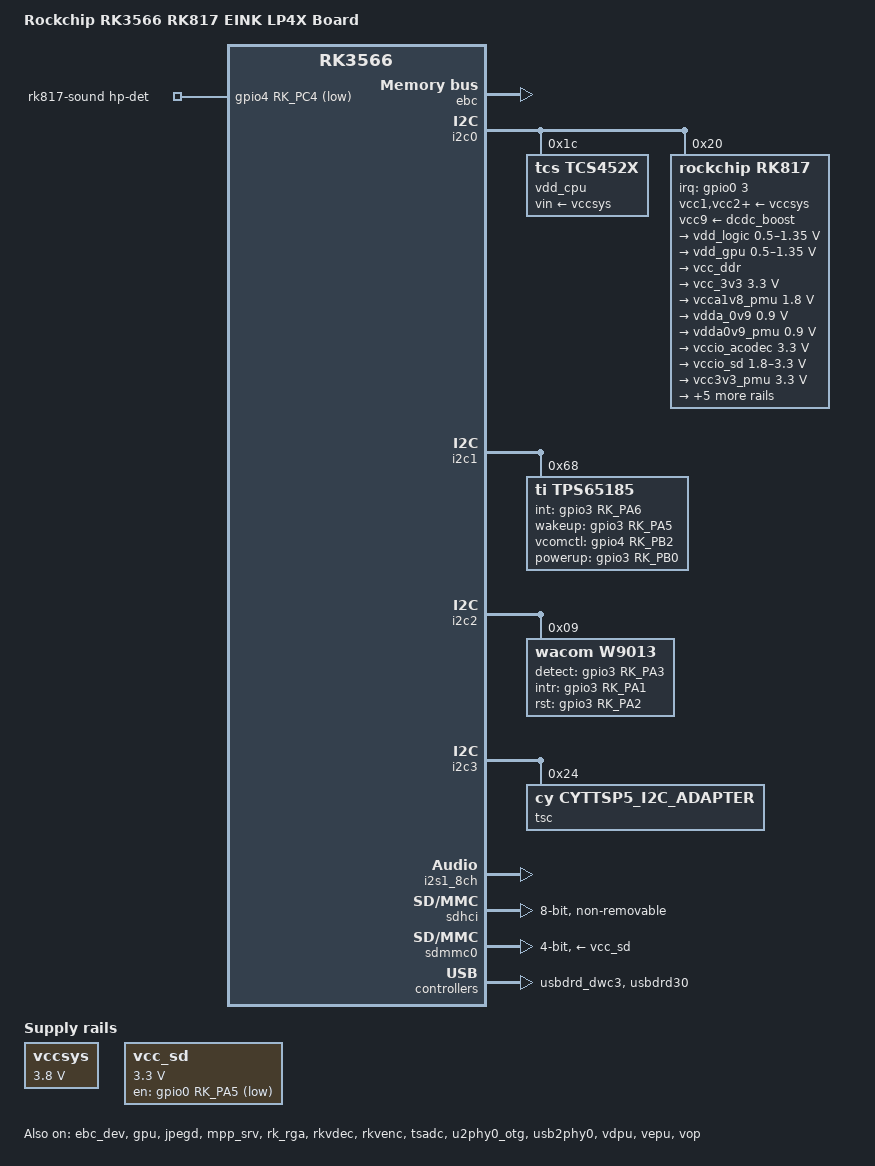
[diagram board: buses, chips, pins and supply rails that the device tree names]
// SPDX-License-Identifier: (GPL-2.0+ OR MIT)
/*
 * Copyright (c) 2020 Rockchip Electronics Co., Ltd.
 *
 */

/dts-v1/;

#include <dt-bindings/gpio/gpio.h>
#include <dt-bindings/pinctrl/rockchip.h>
#include <dt-bindings/input/rk-input.h>
#include <dt-bindings/sensor-dev.h>
#include <dt-bindings/display/drm_mipi_dsi.h>
#include "rk3566.dtsi"
#include "rk3568-android.dtsi"
#include "rk3566-eink.dtsi"

/ {
	model = "Rockchip RK3566 RK817 EINK LP4X Board";
	compatible = "rockchip,rk3566-rk817-eink", "rockchip,rk3566";

	charge-animation {
		compatible = "rockchip,uboot-charge";
		rockchip,uboot-charge-on = <1>;
		rockchip,android-charge-on = <0>;
		rockchip,uboot-low-power-voltage = <3350>;
		rockchip,screen-on-voltage = <3400>;
		rockchip,auto-wakeup-interval = <60>;
		status = "okay";
	};

	adc_keys: adc-keys {
		status = "disabled";
		compatible = "adc-keys";
		io-channels = <&saradc 0>;
		io-channel-names = "buttons";
		keyup-threshold-microvolt = <1800000>;
		poll-interval = <100>;

		vol-up-key {
			label = "volume up";
			linux,code = <KEY_VOLUMEUP>;
			press-threshold-microvolt = <1750>;
		};

		vol-down-key {
			label = "volume down";
			linux,code = <KEY_VOLUMEDOWN>;
			press-threshold-microvolt = <297500>;
		};
	};

	hdmi_sound: hdmi-sound {
		compatible = "simple-audio-card";
		simple-audio-card,format = "i2s";
		simple-audio-card,mclk-fs = <128>;
		simple-audio-card,name = "rockchip,hdmi";
		status = "disabled";

		simple-audio-card,cpu {
				sound-dai = <&i2s0_8ch>;
		};
		simple-audio-card,codec {
				sound-dai = <&hdmi>;
		};
	};

	vccsys: vccsys {
		compatible = "regulator-fixed";
		regulator-name = "vcc3v8_sys";
		regulator-always-on;
		regulator-boot-on;
		regulator-min-microvolt = <3800000>;
		regulator-max-microvolt = <3800000>;
	};

	rk817-sound {
		compatible = "rockchip,multicodecs-card";
		rockchip,card-name = "rockchip-rk817";
		hp-det-gpio = <&gpio4 RK_PC4 GPIO_ACTIVE_LOW>;
		rockchip,format = "i2s";
		rockchip,mclk-fs = <256>;
		rockchip,cpu = <&i2s1_8ch>;
		rockchip,codec = <&rk817_codec>;
		pinctrl-names = "default";
		pinctrl-0 = <&hp_det>;
	};

	sdio_pwrseq: sdio-pwrseq {
		status = "disabled";
		compatible = "mmc-pwrseq-simple";
		clocks = <&rk817 1>;
		clock-names = "ext_clock";
		pinctrl-names = "default";
		pinctrl-0 = <&wifi_enable_h>;

		/*
		 * On the module itself this is one of these (depending
		 * on the actual card populated):
		 * - SDIO_RESET_L_WL_REG_ON
		 * - PDN (power down when low)
		 */
		post-power-on-delay-ms = <200>;
		reset-gpios = <&gpio2 RK_PB1 GPIO_ACTIVE_LOW>;
	};

	vcc_sd: vcc-sd {
		compatible = "regulator-gpio";
		enable-active-low;
		enable-gpio = <&gpio0 RK_PA5 GPIO_ACTIVE_LOW>;
		regulator-min-microvolt = <3300000>;
		regulator-max-microvolt = <3300000>;
		pinctrl-names = "default";
		pinctrl-0 = <&vcc_sd_h>;
		regulator-name = "vcc_sd";
		states = <3300000 0x0
			3300000 0x1>;
	};

	wireless-wlan {
		compatible = "wlan-platdata";
		rockchip,grf = <&grf>;
		wifi_chip_type = "ap6255";
		pinctrl-names = "default";
		pinctrl-0 = <&wifi_host_wake_irq>;
		WIFI,host_wake_irq = <&gpio2 RK_PB2 GPIO_ACTIVE_HIGH>;
		status = "disabled";
	};

	wireless-bluetooth {
		compatible = "bluetooth-platdata";
		clocks = <&rk817 1>;
		clock-names = "ext_clock";
		//wifi-bt-power-toggle;
		uart_rts_gpios = <&gpio2 RK_PB5 GPIO_ACTIVE_LOW>;
		pinctrl-names = "default", "rts_gpio";
		pinctrl-0 = <&uart1m0_rtsn>;
		pinctrl-1 = <&uart1_gpios>;
		BT,reset_gpio    = <&gpio2 RK_PB7 GPIO_ACTIVE_HIGH>;
		BT,wake_gpio     = <&gpio2 RK_PC1 GPIO_ACTIVE_HIGH>;
		BT,wake_host_irq = <&gpio2 RK_PC0 GPIO_ACTIVE_HIGH>;
		status = "disabled";
	};
};

&ebc {
	/* clock rate 1000M/n, (n=1~32) */
	assigned-clocks = <&cru CPLL_333M>, <&cru DCLK_EBC>;
	assigned-clock-rates = <250000000>, <250000000>;
	status = "okay";
};

&ebc_dev {
	pmic = <&tps65185>;
	status = "okay";
#if 0
	/* ED097TC2U1 */
	panel,width = <1200>;
	panel,height = <825>;
	panel,vir_width = <1200>;
	panel,vir_height = <825>;
	panel,sdck = <25000000>;
	panel,lsl = <4>;
	panel,lbl = <4>;
	panel,ldl = <300>;
	panel,lel = <36>;
	panel,gdck-sta = <18>;
	panel,lgonl = <265>;
	panel,fsl = <2>;
	panel,fbl = <4>;
	panel,fdl = <825>;
	panel,fel = <24>;
	panel,mirror = <0>;
	panel,panel_16bit = <0>;
	panel,panel_color = <0>;
	panel,width-mm = <203>;
	panel,height-mm = <140>;
#else
	/* ES103TC1 */
	panel,width = <1872>;
	panel,height = <1404>;
	panel,vir_width = <1872>;
	panel,vir_height = <1404>;
	panel,sdck = <33300000>;
	panel,lsl = <18>;
	panel,lbl = <17>;
	panel,ldl = <234>;
	panel,lel = <7>;
	panel,gdck-sta = <34>;
	panel,lgonl = <192>;
	panel,fsl = <1>;
	panel,fbl = <4>;
	panel,fdl = <1404>;
	panel,fel = <12>;
	panel,mirror = <0>;
	panel,panel_16bit = <1>;
	panel,panel_color = <0>;
	panel,width-mm = <157>;
	panel,height-mm = <210>;
#endif
};

&cpu0 {
	cpu-supply = <&vdd_cpu>;
};

&gpu {
	mali-supply = <&vdd_gpu>;
	status = "okay";
};

&hdmi {
	status = "disabled";
};

&hdmi_in_vp0 {
	status = "disabled";
};

&hdmi_in_vp1 {
	status = "disabled";
};

&hdmi_sound {
	status = "disabled";
};

&i2c0 {
	status = "okay";

	vdd_cpu: tcs4525@1c {
		compatible = "tcs,tcs452x";
		reg = <0x1c>;
		vin-supply = <&vccsys>;
		regulator-compatible = "fan53555-reg";
		regulator-name = "vdd_cpu";
		regulator-min-microvolt = <712500>;
		regulator-max-microvolt = <1390000>;
		regulator-init-microvolt = <900000>;
		regulator-ramp-delay = <2300>;
		fcs,suspend-voltage-selector = <1>;
		regulator-boot-on;
		regulator-always-on;
		regulator-state-mem {
			regulator-off-in-suspend;
		};
	};

	rk817: pmic@20 {
		compatible = "rockchip,rk817";
		reg = <0x20>;
		interrupt-parent = <&gpio0>;
		interrupts = <3 IRQ_TYPE_LEVEL_LOW>;

		pinctrl-names = "default", "pmic-sleep",
				"pmic-power-off", "pmic-reset";
		pinctrl-0 = <&pmic_int>;
		pinctrl-1 = <&soc_slppin_slp>, <&rk817_slppin_slp>;
		pinctrl-2 = <&soc_slppin_gpio>, <&rk817_slppin_pwrdn>;
		pinctrl-3 = <&soc_slppin_gpio>, <&rk817_slppin_rst>;
		rockchip,system-power-controller;
		wakeup-source;
		#clock-cells = <1>;
		clock-output-names = "rk808-clkout1", "rk808-clkout2";
		//fb-inner-reg-idxs = <2>;
		/* 1: rst regs (default in codes), 0: rst the pmic */
		pmic-reset-func = <0>;
		/* not save the PMIC_POWER_EN register in uboot */
		not-save-power-en = <1>;
		vcc1-supply = <&vccsys>;
		vcc2-supply = <&vccsys>;
		vcc3-supply = <&vccsys>;
		vcc4-supply = <&vccsys>;
		vcc5-supply = <&vccsys>;
		vcc6-supply = <&vccsys>;
		vcc7-supply = <&vccsys>;
		vcc8-supply = <&vccsys>;
		vcc9-supply = <&dcdc_boost>;

		pwrkey {
			status = "okay";
		};

		pinctrl_rk8xx: pinctrl_rk8xx {
			gpio-controller;
			#gpio-cells = <2>;

			rk817_slppin_null: rk817_slppin_null {
				pins = "gpio_slp";
				function = "pin_fun0";
			};

			rk817_slppin_slp: rk817_slppin_slp {
				pins = "gpio_slp";
				function = "pin_fun1";
			};

			rk817_slppin_pwrdn: rk817_slppin_pwrdn {
				pins = "gpio_slp";
				function = "pin_fun2";
			};

			rk817_slppin_rst: rk817_slppin_rst {
				pins = "gpio_slp";
				function = "pin_fun3";
			};
		};

		regulators {
			vdd_logic: DCDC_REG1 {
				regulator-always-on;
				regulator-boot-on;
				regulator-min-microvolt = <500000>;
				regulator-max-microvolt = <1350000>;
				regulator-init-microvolt = <900000>;
				regulator-ramp-delay = <6001>;
				regulator-initial-mode = <0x2>;
				regulator-name = "vdd_logic";
				regulator-state-mem {
					regulator-off-in-suspend;
					regulator-suspend-microvolt = <900000>;
				};
			};

			vdd_gpu: DCDC_REG2 {
				regulator-always-on;
				regulator-boot-on;
				regulator-min-microvolt = <500000>;
				regulator-max-microvolt = <1350000>;
				regulator-init-microvolt = <900000>;
				regulator-ramp-delay = <6001>;
				regulator-initial-mode = <0x2>;
				regulator-name = "vdd_gpu";
					regulator-state-mem {
					regulator-off-in-suspend;
				};
			};

			vcc_ddr: DCDC_REG3 {
				regulator-always-on;
				regulator-boot-on;
				regulator-initial-mode = <0x2>;
				regulator-name = "vcc_ddr";
				regulator-state-mem {
					regulator-on-in-suspend;
				};
			};

			vcc_3v3: DCDC_REG4 {
				regulator-always-on;
				regulator-boot-on;
				regulator-min-microvolt = <3300000>;
				regulator-max-microvolt = <3300000>;
				regulator-initial-mode = <0x2>;
				regulator-name = "vcc_3v3";
				regulator-state-mem {
					regulator-off-in-suspend;
				};
			};

			vcca1v8_pmu: LDO_REG1 {
				regulator-always-on;
				regulator-boot-on;
				regulator-min-microvolt = <1800000>;
				regulator-max-microvolt = <1800000>;
				regulator-name = "vcca1v8_pmu";
				regulator-state-mem {
					regulator-on-in-suspend;
					regulator-suspend-microvolt = <1800000>;
				};
			};

			vdda_0v9: LDO_REG2 {
				regulator-always-on;
				regulator-boot-on;
				regulator-min-microvolt = <900000>;
				regulator-max-microvolt = <900000>;
				regulator-name = "vdda_0v9";
				regulator-state-mem {
					regulator-off-in-suspend;
				};
			};

			vdda0v9_pmu: LDO_REG3 {
				regulator-always-on;
				regulator-boot-on;
				regulator-min-microvolt = <900000>;
				regulator-max-microvolt = <900000>;
				regulator-name = "vdda0v9_pmu";
				regulator-state-mem {
					regulator-on-in-suspend;
					regulator-suspend-microvolt = <900000>;
				};
			};

			vccio_acodec: LDO_REG4 {
				regulator-always-on;
				regulator-boot-on;
				regulator-min-microvolt = <3300000>;
				regulator-max-microvolt = <3300000>;
				regulator-name = "vccio_acodec";
				regulator-state-mem {
					regulator-off-in-suspend;
				};
			};

			vccio_sd: LDO_REG5 {
				regulator-always-on;
				regulator-boot-on;
				regulator-min-microvolt = <1800000>;
				regulator-max-microvolt = <3300000>;
				regulator-name = "vccio_sd";
				regulator-state-mem {
					regulator-off-in-suspend;
				};
			};

			vcc3v3_pmu: LDO_REG6 {
				regulator-always-on;
				regulator-boot-on;
				regulator-min-microvolt = <3300000>;
				regulator-max-microvolt = <3300000>;
				regulator-name = "vcc3v3_pmu";
				regulator-state-mem {
					regulator-on-in-suspend;
					regulator-suspend-microvolt = <3300000>;
				};
			};

			vcc_1v8: LDO_REG7 {
				regulator-always-on;
				regulator-boot-on;
				regulator-min-microvolt = <1800000>;
				regulator-max-microvolt = <1800000>;
				regulator-name = "vcc_1v8";
				regulator-state-mem {
					regulator-off-in-suspend;
				};
			};

			vcc1v8_dvp: LDO_REG8 {
				regulator-always-on;
				regulator-boot-on;
				regulator-min-microvolt = <1800000>;
				regulator-max-microvolt = <1800000>;
				regulator-name = "vcc1v8_dvp";
				regulator-state-mem {
					regulator-off-in-suspend;
				};
			};

			vcc2v8_dvp: LDO_REG9 {
				regulator-always-on;
				regulator-boot-on;
				regulator-min-microvolt = <2800000>;
				regulator-max-microvolt = <2800000>;
				regulator-name = "vcc2v8_dvp";
				regulator-state-mem {
					regulator-off-in-suspend;
				};
			};

			dcdc_boost: BOOST {
				regulator-always-on;
				regulator-boot-on;
				regulator-min-microvolt = <4700000>;
				regulator-max-microvolt = <5400000>;
				regulator-name = "boost";
				regulator-state-mem {
					regulator-off-in-suspend;
				};
			};

			otg_switch: OTG_SWITCH {
				regulator-name = "otg_switch";
				regulator-state-mem {
					regulator-off-in-suspend;
				};
			};
		};

		battery {
			compatible = "rk817,battery";
			ocv_table = <3400 3513 3578 3687 3734 3752 3763
				     3766 3771 3784 3804 3836 3885 3925
				     3962 4005 4063 4114 4169 4227 4303>;
			design_capacity = <5000>;
			design_qmax = <5500>;
			bat_res = <100>;
			sleep_enter_current = <150>;
			sleep_exit_current = <180>;
			sleep_filter_current = <100>;
			power_off_thresd = <3450>;
			zero_algorithm_vol = <3850>;
			max_soc_offset = <60>;
			monitor_sec = <5>;
			sample_res = <10>;
			virtual_power = <0>;
		};

		charger {
			compatible = "rk817,charger";
			min_input_voltage = <4500>;
			max_input_current = <1500>;
			max_chrg_current = <2000>;
			max_chrg_voltage = <4300>;
			chrg_term_mode = <0>;
			chrg_finish_cur = <300>;
			virtual_power = <0>;
			dc_det_adc = <0>;
			extcon = <&usb2phy0>;
			gate_function_disable = <1>;
		};

		rk817_codec: codec {
			#sound-dai-cells = <0>;
			compatible = "rockchip,rk817-codec";
			clocks = <&cru I2S1_MCLKOUT>;
			clock-names = "mclk";
			assigned-clocks = <&cru I2S1_MCLKOUT>, <&cru I2S1_MCLK_TX_IOE>;
			assigned-clock-rates = <12288000>;
			assigned-clock-parents = <&cru I2S1_MCLKOUT_TX>, <&cru I2S1_MCLKOUT_TX>;
			pinctrl-names = "default";
			pinctrl-0 = <&i2s1m0_mclk>;
			hp-volume = <20>;
			spk-volume = <3>;
			out-l2spk-r2hp;
			spk-ctl-gpios = <&gpio0 RK_PA6 GPIO_ACTIVE_HIGH>;
			status = "okay";
		};
	};
};

&i2c1 {
	status = "okay";
	tps65185: tps65185@68 {
		status = "okay";
		compatible = "ti,tps65185";
		reg = <0x68>;
		pinctrl-names = "default";
		pinctrl-0 = <&tps65185_gpio>;
		int-gpios = <&gpio3 RK_PA6 GPIO_ACTIVE_HIGH>;
		wakeup-gpios = <&gpio3 RK_PA5 GPIO_ACTIVE_HIGH>;
		vcomctl-gpios = <&gpio4 RK_PB2 GPIO_ACTIVE_HIGH>;
		powerup-gpios = <&gpio3 RK_PB0 GPIO_ACTIVE_HIGH>;
	};
};

&i2c2 {
	status = "okay";
	wacom: wacom@9 {
		compatible = "wacom,w9013";
		reg = <0x09>;
		pinctrl-names = "default";
		pinctrl-0 = <&wacom_gpio>;
		gpio_detect = <&gpio3 RK_PA3 GPIO_ACTIVE_HIGH>;
		gpio_intr = <&gpio3 RK_PA1 GPIO_ACTIVE_HIGH>;
		gpio_rst = <&gpio3 RK_PA2 GPIO_ACTIVE_HIGH>;
		revert_x = <0>;
		revert_y = <0>;
		xy_exchange = <0>;
	};
};

&i2c3 {
	status = "okay";
	pinctrl-names = "default";
	pinctrl-0 = <&i2c3m1_xfer>;

	ts@40 {
		compatible = "gslX680-pad";
		reg = <0x40>;
		touch-gpio = <&gpio3 RK_PB0 IRQ_TYPE_LEVEL_HIGH>;
		reset-gpio = <&gpio3 RK_PB1 IRQ_TYPE_LEVEL_HIGH>;
		pinctrl-names = "default";
		pinctrl-0 = <&tp_gpio>;
		screen_max_x = <1200>;
		screen_max_y = <1920>;
		revert_x = <0>;
		revert_y = <1>;
		revert_xy = <0>;
		chip_id = <1>;
		status = "disabled";
	};

	tsc@24 {
		status = "okay";
		compatible = "cy,cyttsp5_i2c_adapter";
		reg = <0x24>;
		cy,adapter_id = "cyttsp5_i2c_adapter";
		//cytp-supply = <&vcc_sd>;
		cy,core {
			cy,name = "cyttsp5_core";
			pinctrl-names = "default";
			pinctrl-0 = <&tsc_gpio>;
			cy,irq_gpio =  <&gpio3 RK_PB1 GPIO_ACTIVE_HIGH>;
			cy,rst_gpio =  <&gpio3 RK_PB2 GPIO_ACTIVE_HIGH>;
			cy,1v8_gpio =  <&gpio3 RK_PC4 GPIO_ACTIVE_HIGH>;
			cy,2v8_gpio =  <&gpio3 RK_PC5 GPIO_ACTIVE_HIGH>;
			cy,hid_desc_register = <1>;
			/* CY_CORE_FLAG_RESTORE_PARAMETERS */
			cy,flags = <6>;
			/* CY_CORE_EWG_NONE */
			cy,easy_wakeup_gesture = <0>;
			cy,btn_keys = <172 /* KEY_HOMEPAGE */
						/* previously was KEY_HOME, new Android versions use KEY_HOMEPAGE */
						139 /* KEY_MENU */
						158 /* KEY_BACK */
						217 /* KEY_SEARCH */
						114 /* KEY_VOLUMEDOWN */
						115 /* KEY_VOLUMEUP */
						212 /* KEY_CAMERA */
						116>; /* KEY_POWER */
			cy,btn_keys-tag = <0>;
			cy,mt {
				cy,name = "cyttsp5_mt";
				cy,inp_dev_name = "cyttsp5_mt";
				cy,flags = <0>;
				cy,abs =
					/* ABS_MT_POSITION_X, CY_ABS_MIN_X, CY_ABS_MAX_X, 0, 0 */
					<0x35 0 1872 0 0
					/* ABS_MT_POSITION_Y, CY_ABS_MIN_Y, CY_ABS_MAX_Y, 0, 0 */
					0x36 0 1404 0 0
					/* ABS_MT_PRESSURE, CY_ABS_MIN_P, CY_ABS_MAX_P, 0, 0 */
					0x3a 0 255 0 0
					/* CY_IGNORE_VALUE, CY_ABS_MIN_W, CY_ABS_MAX_W, 0, 0 */
					0xffff 0 255 0 0
					/* ABS_MT_TRACKING_ID, CY_ABS_MIN_T, CY_ABS_MAX_T, 0, 0 */
					0x39 0 15 0 0
					/* ABS_MT_TOUCH_MAJOR, 0, 255, 0, 0 */
					0x30 0 255 0 0
					/* ABS_MT_TOUCH_MINOR, 0, 255, 0, 0 */
					0x31 0 255 0 0
					/* ABS_MT_ORIENTATION, -127, 127, 0, 0 */
					0x34 0xffffff81 127 0 0
					/* ABS_MT_TOOL_TYPE, 0, MT_TOOL_MAX, 0, 0 */
					0x37 0 1 0 0
					/* ABS_DISTANCE, 0, 255, 0, 0 */
					0x19 0 255 0 0>;

					cy,vkeys_x = <1872>;
					cy,vkeys_y = <1404>;
					cy,revert_x = <0>;
					cy,revert_y = <1>;
					cy,xy_exchange = <0>;

					cy,virtual_keys =
						/* KeyCode CenterX CenterY Width Height */
						/* KEY_BACK */
						<158 1360 90 160 180
						/* KEY_MENU */
						139 1360 270 160 180
						/* KEY_HOMEPAGE */
						172 1360 450 160 180
						/* KEY SEARCH */
						217 1360 630 160 180>;
			};

			cy,btn {
				cy,name = "cyttsp5_btn";
				cy,inp_dev_name = "cyttsp5_btn";
			};

			cy,proximity {
				cy,name = "cyttsp5_proximity";
				cy,inp_dev_name = "cyttsp5_proximity";
				cy,abs =
			/* ABS_DISTANCE, CY_PROXIMITY_MIN_VAL, CY_PROXIMITY_MAX_VAL, 0, 0 */
					<0x19 0 1 0 0>;
			};
		};
	};
};

&i2c5 {
	status = "disabled";

	kxtj: kxtj3@e {
		status = "disabled";
		compatible = "gs_kxtj9";
		pinctrl-names = "default";
		pinctrl-0 = <&kxtj3_irq_gpio>;
		reg = <0x0e>;
		irq-gpio = <&gpio4 RK_PC6 IRQ_TYPE_EDGE_RISING>;
		type = <SENSOR_TYPE_ACCEL>;
		irq_enable = <0>;
		poll_delay_ms = <30>;
		power-off-in-suspend = <1>;
		layout = <5>;
	};
};

&i2s0_8ch {
	status = "disabled";
};

&i2s1_8ch {
	status = "okay";
	rockchip,clk-trcm = <1>;
	pinctrl-names = "default";
	pinctrl-0 = <&i2s1m0_sclktx
		     &i2s1m0_lrcktx
		     &i2s1m0_sdi0
		     &i2s1m0_sdo0>;
};

&jpegd {
	status = "okay";
};

&jpegd_mmu {
	status = "okay";
};

&video_phy0 {
	status = "disabled";
};

&mpp_srv {
	status = "okay";
};

&nandc0 {
	status = "disabled";
};

&pinctrl {
	wacom {
		wacom_gpio: wacom-gpio {
			rockchip,pins =
					<3 RK_PA1 RK_FUNC_GPIO &pcfg_pull_up>,
					<3 RK_PA2 RK_FUNC_GPIO &pcfg_pull_up>,
					<3 RK_PA3 RK_FUNC_GPIO &pcfg_pull_up>;
		};
	};
	tsc {
		tsc_gpio: tsc-gpio {
			rockchip,pins =
					<3 RK_PB1 RK_FUNC_GPIO &pcfg_pull_up>,
					<3 RK_PB2 RK_FUNC_GPIO &pcfg_pull_up>,
					<3 RK_PC4 RK_FUNC_GPIO &pcfg_pull_up>,
					<3 RK_PC5 RK_FUNC_GPIO &pcfg_pull_up>;
		};
	};

	tps_pmic {
		tps65185_gpio: tps65185-gpio {
			rockchip,pins =
					<4 RK_PB2 RK_FUNC_GPIO &pcfg_pull_up>,
					<3 RK_PA5 RK_FUNC_GPIO &pcfg_pull_up>,
					<3 RK_PA6 RK_FUNC_GPIO &pcfg_pull_up>,
					<3 RK_PB0 RK_FUNC_GPIO &pcfg_pull_up>;
		};
	};

	tp {
		tp_gpio: tp-gpio {
			rockchip,pins =
				<3 RK_PB0 RK_FUNC_GPIO &pcfg_pull_up>,
				<3 RK_PB1 RK_FUNC_GPIO &pcfg_pull_none>;
		};
	};

	headphone {
		hp_det: hp-det {
			rockchip,pins = <4 RK_PC4 RK_FUNC_GPIO &pcfg_pull_down>;
		};
	};

	sensor {
		kxtj3_irq_gpio: kxtj3-irq-gpio {
			rockchip,pins = <4 RK_PC6 RK_FUNC_GPIO &pcfg_pull_none>;
		};
	};

	pmic {
		pmic_int: pmic_int {
			rockchip,pins =
				<0 RK_PA3 RK_FUNC_GPIO &pcfg_pull_up>;
		};

		soc_slppin_gpio: soc_slppin_gpio {
			rockchip,pins =
				<0 RK_PA2 RK_FUNC_GPIO &pcfg_output_low>;
		};

		soc_slppin_slp: soc_slppin_slp {
			rockchip,pins =
				<0 RK_PA2 1 &pcfg_pull_none>;
		};

		soc_slppin_rst: soc_slppin_rst {
			rockchip,pins =
				<0 RK_PA2 2 &pcfg_pull_none>;
		};
	};

	sdio-pwrseq {
		wifi_enable_h: wifi-enable-h {
			rockchip,pins = <2 RK_PB1 RK_FUNC_GPIO &pcfg_pull_none>;
		};
	};

	vcc_sd {
		vcc_sd_h: vcc-sd-h {
			rockchip,pins = <0 RK_PA5 RK_FUNC_GPIO &pcfg_pull_none>;
		};
	};

	wireless-wlan {
		wifi_host_wake_irq: wifi-host-wake-irq {
			rockchip,pins = <2 RK_PB2 RK_FUNC_GPIO &pcfg_pull_down>;
		};
	};

	wireless-bluetooth {
		uart1_gpios: uart1-gpios {
			rockchip,pins = <2 RK_PB5 RK_FUNC_GPIO &pcfg_pull_none>;
		};
	};
};

&pmu_io_domains {
	status = "okay";
	pmuio1-supply = <&vcc3v3_pmu>;
	pmuio2-supply = <&vcc3v3_pmu>;
	vccio1-supply = <&vccio_acodec>;
	vccio3-supply = <&vccio_sd>;
	vccio4-supply = <&vcc_3v3>;
	vccio5-supply = <&vcc_3v3>;
	vccio6-supply = <&vcc_3v3>;
	vccio7-supply = <&vcc_3v3>;
};

&pwm4 {
	status = "disabled";
};

&rk_rga {
	status = "okay";
};

&rkvdec {
	status = "okay";
};

&rkvdec_mmu {
	status = "okay";
};

&rkvenc {
	status = "okay";
};

&rkvenc_mmu {
	status = "okay";
};

&saradc {
	status = "disabled";
	vref-supply = <&vcc_1v8>;
};

&sdhci {
	bus-width = <8>;
	no-sdio;
	no-sd;
	non-removable;
	keep-power-in-suspend;
	max-frequency = <200000000>;
	status = "okay";
};

&sdmmc0 {
	max-frequency = <50000000>;
	no-sdio;
	no-mmc;
	bus-width = <4>;
	cap-mmc-highspeed;
	cap-sd-highspeed;
	disable-wp;
	sd-uhs-sdr104;
	vmmc-supply = <&vcc_sd>;
	vqmmc-supply = <&vccio_sd>;
	pinctrl-names = "default";
	pinctrl-0 = <&sdmmc0_bus4 &sdmmc0_clk &sdmmc0_cmd &sdmmc0_det>;
	status = "okay";
};

&sdmmc1 {
	max-frequency = <150000000>;
	no-sd;
	no-mmc;
	bus-width = <4>;
	disable-wp;
	cap-sd-highspeed;
	cap-sdio-irq;
	keep-power-in-suspend;
	mmc-pwrseq = <&sdio_pwrseq>;
	non-removable;
	pinctrl-names = "default";
	pinctrl-0 = <&sdmmc1_bus4 &sdmmc1_cmd &sdmmc1_clk>;
	sd-uhs-sdr104;
	status = "disabled";
};

&tsadc {
	status = "okay";
};

&uart1 {
	status = "disabled";
	pinctrl-names = "default";
	pinctrl-0 = <&uart1m0_xfer &uart1m0_ctsn>;
};

&u2phy0_otg {
	status = "okay";
};

&usb2phy0 {
	status = "okay";
};

&usbdrd_dwc3 {
	status = "okay";
};

&usbdrd30 {
	status = "okay";
};

&vdpu {
	status = "okay";
};

&vdpu_mmu {
	status = "okay";
};

&vepu {
	status = "okay";
};

&vepu_mmu {
	status = "okay";
};

&vop {
	status = "okay";
};

&vop_mmu {
	status = "okay";
};
